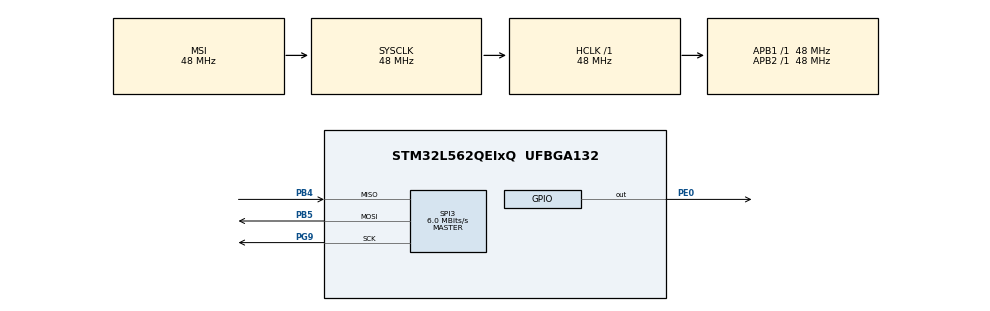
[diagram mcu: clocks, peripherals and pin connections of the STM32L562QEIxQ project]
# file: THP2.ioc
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FREERTOS.Tasks01=bmeSampleTask,16,128,BmeSampleTask,Default,NULL,Dynamic,NULL,NULL;lcdRenderTask,32,512,LcdRenderTask,Default,NULL,Dynamic,NULL,NULL;tapCheckTask,40,128,TapCheckTask,Default,NULL,Dynamic,NULL,NULL;sdWriteTask,24,1024,SdWriteTask,Default,NULL,Dynamic,NULL,NULL
FREERTOS.configENABLE_FPU=0
FREERTOS.configTOTAL_HEAP_SIZE=16384
FREERTOS.configUSE_NEWLIB_REENTRANT=1
Mcu.Family=STM32L5
Mcu.Name=STM32L562QEIxQ
Mcu.Package=UFBGA132
NVIC.PriorityGroup=NVIC_PRIORITYGROUP_3
NVIC.TIM6_IRQn=true\:7\:0\:false\:false\:true\:false\:false\:true
NVIC.TimeBase=TIM6_IRQn
NVIC.TimeBaseIP=TIM6
PB4\ (NJTRST).GPIO_Mode=GPIO_MODE_AF_PP
PB4\ (NJTRST).GPIO_PuPd=GPIO_NOPULL
PB4\ (NJTRST).GPIO_Speed=GPIO_SPEED_FREQ_LOW
PB4\ (NJTRST).Mode=Full_Duplex_Master
PB4\ (NJTRST).Signal=SPI3_MISO
PB5.GPIO_Mode=GPIO_MODE_AF_PP
PB5.GPIO_PuPd=GPIO_NOPULL
PB5.GPIO_Speed=GPIO_SPEED_FREQ_LOW
PB5.Mode=Full_Duplex_Master
PB5.Signal=SPI3_MOSI
PE0.PinState=GPIO_PIN_SET
PE0.Signal=GPIO_Output
PG9.GPIO_Mode=GPIO_MODE_AF_PP
PG9.GPIO_PuPd=GPIO_NOPULL
PG9.GPIO_Speed=GPIO_SPEED_FREQ_LOW
PG9.Mode=Full_Duplex_Master
PG9.Signal=SPI3_SCK
ProjectManager.HeapSize=0x200
ProjectManager.StackSize=0x400
ProjectManager.TargetToolchain=STM32CubeIDE
RCC.ADCFreq_Value=192000000
RCC.AHBFreq_Value=48000000
RCC.APB1Freq_Value=48000000
RCC.APB1TimFreq_Value=48000000
RCC.APB2Freq_Value=48000000
RCC.APB2TimFreq_Value=48000000
RCC.CortexFreq_Value=48000000
RCC.HCLKFreq_Value=48000000
RCC.HSE_VALUE=16000000
RCC.HSI48_VALUE=48000000
RCC.HSI_VALUE=16000000
RCC.LSE_VALUE=32768
RCC.MSIClockRange=RCC_MSIRANGE_11
RCC.MSI_VALUE=48000000
RCC.SYSCLKFreq_VALUE=48000000
RCC.USBFreq_Value=192000000
RCC.VCOOutputFreq_Value=384000000
SPI3.BaudRatePrescaler=SPI_BAUDRATEPRESCALER_8
SPI3.CalculateBaudRate=6.0 MBits/s
SPI3.DataSize=SPI_DATASIZE_8BIT
SPI3.Direction=SPI_DIRECTION_2LINES
SPI3.Mode=SPI_MODE_MASTER
SPI3.NSSPMode=SPI_NSS_PULSE_DISABLE
SPI3.VirtualType=VM_MASTER
VP_FREERTOS_VS_CMSIS_V2.Mode=CMSIS_V2
VP_ICACHE_VS_ICACHE.Mode=DirectMappedCache
VP_PWR_VS_DBSignals.Mode=DisableDeadBatterySignals
VP_PWR_VS_SECSignals.Mode=Security/Privilege
VP_SYS_VS_tim6.Mode=TIM6
board=custom

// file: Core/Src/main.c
/* USER CODE BEGIN Header */
/**
  ******************************************************************************
  * @file           : main.c
  * @brief          : Main program body
  ******************************************************************************
  * @attention
  *
  * <h2><center>&copy; Copyright (c) 2021 STMicroelectronics.
  * All rights reserved.</center></h2>
  *
  * This software component is licensed by ST under Ultimate Liberty license
  * SLA0044, the "License"; You may not use this file except in compliance with
  * the License. You may obtain a copy of the License at:
  *                             www.st.com/SLA0044
  *
  ******************************************************************************
  */
/* USER CODE END Header */
#include "main.h"
#include "cmsis_os.h"

SPI_HandleTypeDef hspi3;

/* Definitions for bmeSampleTask */
osThreadId_t bmeSampleTaskHandle;
const osThreadAttr_t bmeSampleTask_attributes = {
  .name = "bmeSampleTask",
  .priority = (osPriority_t) osPriorityBelowNormal,
  .stack_size = 128 * 4
};
/* Definitions for lcdRenderTask */
osThreadId_t lcdRenderTaskHandle;
const osThreadAttr_t lcdRenderTask_attributes = {
  .name = "lcdRenderTask",
  .priority = (osPriority_t) osPriorityAboveNormal,
  .stack_size = 512 * 4
};
/* Definitions for tapCheckTask */
osThreadId_t tapCheckTaskHandle;
const osThreadAttr_t tapCheckTask_attributes = {
  .name = "tapCheckTask",
  .priority = (osPriority_t) osPriorityHigh,
  .stack_size = 128 * 4
};
/* Definitions for sdWriteTask */
osThreadId_t sdWriteTaskHandle;
const osThreadAttr_t sdWriteTask_attributes = {
  .name = "sdWriteTask",
  .priority = (osPriority_t) osPriorityNormal,
  .stack_size = 1024 * 4
};
/* USER CODE BEGIN PV */
volatile uint32_t* DWT_CTRL = (uint32_t*)0xE0001000;

enum eBmeState { eStream, eRecord, eWrite };
enum eBmeState curr_state = eStream;

__IO FlagStatus TouchDetected     = RESET;
FlagStatus LcdInitialized = RESET;
FlagStatus TsInitialized  = RESET;

extern struct bme280_dev bme_device;
extern struct bme280_data curr_bme_data;

struct sd_write_item {
	struct bme280_data readings;
	uint32_t tick_offset;
};
struct sd_write_item sd_raw_data_buf[NUMBER_OF_SAMPLES_TO_REC];
int iSdRawDataBuf = 0;

/* USER CODE END PV */

void SystemClock_Config(void);
static void MX_ICACHE_Init(void);
static void MX_GPIO_Init(void);
static void MX_SPI3_Init(void);
void BmeSampleTask(void *argument);
void LcdRenderTask(void *argument);
void TapCheckTask(void *argument);
void SdWriteTask(void *argument);

/* USER CODE BEGIN PFP */
void LcdRenderReading(const struct bme280_data *reading);
UINT WriteReadingAndCommaToFile(FIL* SDFile, char* single_line_buf, int bufSize);
static void SystemHardwareInit(void);
extern void SEGGER_UART_init(U32 baud);
/* USER CODE END PFP */

int main(void)
{

  /* MCU Configuration--------------------------------------------------------*/

  /* Reset of all peripherals, Initializes the Flash interface and the Systick. */
  HAL_Init();

  /* USER CODE BEGIN Init */
  *(DWT_CTRL) |= (1 << 0);
  /* USER CODE END Init */

  /* Configure the system clock */
  SystemClock_Config();

  /* Initialize all configured peripherals */
  MX_ICACHE_Init();
  MX_GPIO_Init();
  MX_SPI3_Init();
  /* USER CODE BEGIN 2 */
  SystemHardwareInit();

  /* Initialize the micro SD Card */
  if (BSP_SD_Init(0) != BSP_ERROR_NONE)
  {
    Error_Handler();
  }
  if (BSP_SD_DetectITConfig(0) != BSP_ERROR_NONE)
  {
    Error_Handler();
  }
  if (MX_FATFS_Init() != APP_OK) {
    Error_Handler();
  }

  // Print start screen to LCD display
  UTIL_LCD_Clear(LCD_BACKGROUND_COLOR);
  UTIL_LCD_FillRect(0, 0, 240, 24, UTIL_LCD_COLOR_ST_BLUE_DARK);
  UTIL_LCD_SetTextColor(LCD_TEXT_COLOR);
  UTIL_LCD_SetBackColor(UTIL_LCD_COLOR_ST_BLUE_DARK);
  UTIL_LCD_SetFont(&Font24);
  UTIL_LCD_DisplayStringAt(0, 0, (uint8_t *)"THP Sensor", CENTER_MODE);
  UTIL_LCD_SetBackColor(LCD_BACKGROUND_COLOR);
  UTIL_LCD_SetFont(&Font12);
  UTIL_LCD_DisplayStringAt(0, PY_TEMPERATURE, (uint8_t *)"Temperature (C): ", LEFT_MODE);
  UTIL_LCD_DisplayStringAt(0, PY_HUMIDITY, (uint8_t *)"Humidity (%RH): ", LEFT_MODE);
  UTIL_LCD_DisplayStringAt(0, PY_PRESSURE, (uint8_t *)"Pressure (hPa): ", LEFT_MODE);
  UTIL_LCD_FillRect(0, 132, 240, 108, UTIL_LCD_COLOR_ST_BLUE_DARK);
  UTIL_LCD_FillRect(PX_RECORD_BUTTON, PY_RECORD_BUTTON, WIDTH_RECORD_BUTTON, HEIGHT_RECORD_BUTTON, RECORD_BUTTON_COLOR_UNPR);
  UTIL_LCD_SetBackColor(RECORD_BUTTON_COLOR_UNPR);
  UTIL_LCD_DisplayStringAt(0, PY_RECORD_BUTTON_TEXT, (uint8_t *)BUTTON_TEXT_STREAMING, CENTER_MODE);
  /* USER CODE END 2 */

  /* Init scheduler */
  osKernelInitialize();

  /* Create the thread(s) */
  /* creation of bmeSampleTask */
  bmeSampleTaskHandle = osThreadNew(BmeSampleTask, NULL, &bmeSampleTask_attributes);

  /* creation of lcdRenderTask */
  lcdRenderTaskHandle = osThreadNew(LcdRenderTask, NULL, &lcdRenderTask_attributes);

  /* creation of tapCheckTask */
  tapCheckTaskHandle = osThreadNew(TapCheckTask, NULL, &tapCheckTask_attributes);

  /* creation of sdWriteTask */
  sdWriteTaskHandle = osThreadNew(SdWriteTask, NULL, &sdWriteTask_attributes);

  /* USER CODE BEGIN RTOS_THREADS */
  /* add threads, ... */
  osThreadSuspend(sdWriteTaskHandle);
//  SEGGER_UART_init(SEGGER_UART_BAUD_RATE);
  SEGGER_SYSVIEW_Conf();
  SEGGER_SYSVIEW_Start();
  /* USER CODE END RTOS_THREADS */

  /* Start scheduler */
  osKernelStart();

  /* We should never get here as control is now taken by the scheduler */
  /* Infinite loop */
  while (1)
  {

  }
}

void SystemClock_Config(void)
{
  RCC_OscInitTypeDef RCC_OscInitStruct = {0};
  RCC_ClkInitTypeDef RCC_ClkInitStruct = {0};

  /** Configure the main internal regulator output voltage
  */
  if (HAL_PWREx_ControlVoltageScaling(PWR_REGULATOR_VOLTAGE_SCALE1) != HAL_OK)
  {
    Error_Handler();
  }
  /** Initializes the RCC Oscillators according to the specified parameters
  * in the RCC_OscInitTypeDef structure.
  */
  RCC_OscInitStruct.OscillatorType = RCC_OSCILLATORTYPE_MSI;
  RCC_OscInitStruct.MSIState = RCC_MSI_ON;
  RCC_OscInitStruct.MSICalibrationValue = RCC_MSICALIBRATION_DEFAULT;
  RCC_OscInitStruct.MSIClockRange = RCC_MSIRANGE_11;
  RCC_OscInitStruct.PLL.PLLState = RCC_PLL_NONE;
  if (HAL_RCC_OscConfig(&RCC_OscInitStruct) != HAL_OK)
  {
    Error_Handler();
  }
  /** Initializes the CPU, AHB and APB buses clocks
  */
  RCC_ClkInitStruct.ClockType = RCC_CLOCKTYPE_HCLK|RCC_CLOCKTYPE_SYSCLK
                              |RCC_CLOCKTYPE_PCLK1|RCC_CLOCKTYPE_PCLK2;
  RCC_ClkInitStruct.SYSCLKSource = RCC_SYSCLKSOURCE_MSI;
  RCC_ClkInitStruct.AHBCLKDivider = RCC_SYSCLK_DIV1;
  RCC_ClkInitStruct.APB1CLKDivider = RCC_HCLK_DIV1;
  RCC_ClkInitStruct.APB2CLKDivider = RCC_HCLK_DIV1;

  if (HAL_RCC_ClockConfig(&RCC_ClkInitStruct, FLASH_LATENCY_2) != HAL_OK)
  {
    Error_Handler();
  }
}

static void MX_ICACHE_Init(void)
{

  /** Enable instruction cache in 1-way (direct mapped cache)
  */
  if (HAL_ICACHE_ConfigAssociativityMode(ICACHE_1WAY) != HAL_OK)
  {
    Error_Handler();
  }
  if (HAL_ICACHE_Enable() != HAL_OK)
  {
    Error_Handler();
  }

}

static void MX_SPI3_Init(void)
{

  /* SPI3 parameter configuration*/
  hspi3.Instance = SPI3;
  hspi3.Init.Mode = SPI_MODE_MASTER;
  hspi3.Init.Direction = SPI_DIRECTION_2LINES;
  hspi3.Init.DataSize = SPI_DATASIZE_8BIT;
  hspi3.Init.CLKPolarity = SPI_POLARITY_LOW;
  hspi3.Init.CLKPhase = SPI_PHASE_1EDGE;
  hspi3.Init.NSS = SPI_NSS_SOFT;
  hspi3.Init.BaudRatePrescaler = SPI_BAUDRATEPRESCALER_8;
  hspi3.Init.FirstBit = SPI_FIRSTBIT_MSB;
  hspi3.Init.TIMode = SPI_TIMODE_DISABLE;
  hspi3.Init.CRCCalculation = SPI_CRCCALCULATION_DISABLE;
  hspi3.Init.CRCPolynomial = 7;
  hspi3.Init.CRCLength = SPI_CRC_LENGTH_DATASIZE;
  hspi3.Init.NSSPMode = SPI_NSS_PULSE_DISABLE;
  if (HAL_SPI_Init(&hspi3) != HAL_OK)
  {
    Error_Handler();
  }

}

static void MX_GPIO_Init(void)
{
  GPIO_InitTypeDef GPIO_InitStruct = {0};

  /* GPIO Ports Clock Enable */
  __HAL_RCC_GPIOB_CLK_ENABLE();
  __HAL_RCC_GPIOG_CLK_ENABLE();
  HAL_PWREx_EnableVddIO2();
  __HAL_RCC_GPIOE_CLK_ENABLE();

  /*Configure GPIO pin Output Level */
  HAL_GPIO_WritePin(GPIOE, GPIO_PIN_0, GPIO_PIN_SET);

  /*Configure GPIO pin : PE0 */
  GPIO_InitStruct.Pin = GPIO_PIN_0;
  GPIO_InitStruct.Mode = GPIO_MODE_OUTPUT_PP;
  GPIO_InitStruct.Pull = GPIO_NOPULL;
  GPIO_InitStruct.Speed = GPIO_SPEED_FREQ_LOW;
  HAL_GPIO_Init(GPIOE, &GPIO_InitStruct);

}

/* USER CODE BEGIN 4 */
static void SystemHardwareInit(void)
{
  /* Initialize the LCD */
  if (LcdInitialized != SET)
  {
    LCD_UTILS_Drv_t lcdDrv;

    /* Initialize the LCD */
    if (BSP_LCD_Init(0, LCD_ORIENTATION_PORTRAIT) != BSP_ERROR_NONE)
    {
      Error_Handler();
    }

    /* Set UTIL_LCD functions */
    lcdDrv.DrawBitmap  = BSP_LCD_DrawBitmap;
    lcdDrv.FillRGBRect = BSP_LCD_FillRGBRect;
    lcdDrv.DrawHLine   = BSP_LCD_DrawHLine;
    lcdDrv.DrawVLine   = BSP_LCD_DrawVLine;
    lcdDrv.FillRect    = BSP_LCD_FillRect;
    lcdDrv.GetPixel    = BSP_LCD_ReadPixel;
    lcdDrv.SetPixel    = BSP_LCD_WritePixel;
    lcdDrv.GetXSize    = BSP_LCD_GetXSize;
    lcdDrv.GetYSize    = BSP_LCD_GetYSize;
    lcdDrv.SetLayer    = BSP_LCD_SetActiveLayer;
    lcdDrv.GetFormat   = BSP_LCD_GetFormat;
    UTIL_LCD_SetFuncDriver(&lcdDrv);

    /* Clear the LCD */
    UTIL_LCD_Clear(LCD_BACKGROUND_COLOR);

    /* Set the display on */
    if (BSP_LCD_DisplayOn(0) != BSP_ERROR_NONE)
    {
      Error_Handler();
    }

    LcdInitialized = SET;
  }

  /* Initialize the TouchScreen */
  if (TsInitialized != SET)
  {
    TS_Init_t TsInit;

    /* Initialize the TouchScreen */
    TsInit.Width       = 240;
    TsInit.Height      = 240;
    TsInit.Orientation = TS_ORIENTATION_PORTRAIT;
    TsInit.Accuracy    = 10;
    if (BSP_TS_Init(0, &TsInit) != BSP_ERROR_NONE)
    {
      Error_Handler();
    }

    /* Configure TS interrupt */
    if (BSP_TS_EnableIT(0) != BSP_ERROR_NONE)
    {
      Error_Handler();
    }

    TsInitialized = SET;
  }
}

void LcdRenderReading(const struct bme280_data *reading) {
	static char sensor_reading_buf[14];
	static const uint clear_height = 12;
	static const uint clear_width = 98;

	UTIL_LCD_SetBackColor(LCD_BACKGROUND_COLOR);

	if (WriteTemperature(reading->temperature, sensor_reading_buf, sizeof(sensor_reading_buf)) > 0) {
		UTIL_LCD_FillRect(240 - clear_width, PY_TEMPERATURE, clear_width, clear_height, LCD_BACKGROUND_COLOR);
		UTIL_LCD_DisplayStringAt(0, PY_TEMPERATURE, (uint8_t *)sensor_reading_buf, RIGHT_MODE);
		memset(sensor_reading_buf, '\0', sizeof(sensor_reading_buf));
	}

	if (WriteHumidity(reading->humidity, sensor_reading_buf, sizeof(sensor_reading_buf))) {
		UTIL_LCD_FillRect(240 - clear_width, PY_HUMIDITY, clear_width, clear_height, LCD_BACKGROUND_COLOR);
		UTIL_LCD_DisplayStringAt(0, PY_HUMIDITY, (uint8_t *)sensor_reading_buf, RIGHT_MODE);
		memset(sensor_reading_buf, '\0', sizeof(sensor_reading_buf));
	}

	if (WritePressure(reading->pressure, sensor_reading_buf, sizeof(sensor_reading_buf)) > 0) {
		UTIL_LCD_FillRect(240 - clear_width, PY_PRESSURE, clear_width, clear_height, LCD_BACKGROUND_COLOR);
		UTIL_LCD_DisplayStringAt(0, PY_PRESSURE, (uint8_t *)sensor_reading_buf, RIGHT_MODE);
		memset(sensor_reading_buf, '\0', sizeof(sensor_reading_buf));
	}
}

UINT WriteReadingAndCommaToFile(FIL* SDFile, char* single_line_buf, int bufSize) {
	const char separator = ',';
	FRESULT res;
	UINT totbyteswritten = 0, byteswritten = 0;
	res = f_write(SDFile, single_line_buf, bufSize, (void*)&byteswritten);
	totbyteswritten += byteswritten;
	if (res != FR_OK || byteswritten != bufSize) return totbyteswritten;
	res = f_write(SDFile, &separator, sizeof(separator), (void*)&byteswritten);
	return (totbyteswritten += byteswritten);
}

void BSP_TS_Callback(uint32_t Instance) {
	if (Instance == 0) {
		// Signal tapCheck that new tap was detected
		TouchDetected = SET;
  }
}
/* USER CODE END 4 */

void BmeSampleTask(void *argument)
{
  /* USER CODE BEGIN 5 */
	if (bme280_app_init() == BME280_OK) {
		uint32_t bme280_sample_delay = bme280_cal_meas_delay(&(bme_device.settings));
		TickType_t xLastWakeTime = osKernelGetTickCount();
		/* Infinite loop */
		for (;;) {
			if (bme280_set_sensor_mode(BME280_FORCED_MODE, &bme_device) == BME280_OK) {
				osDelay(pdMS_TO_TICKS(bme280_sample_delay));
				if (bme280_get_sensor_data(BME280_ALL, &curr_bme_data, &bme_device) == BME280_OK) {
					// Signal lcd render and sd write that new data is ready
					osThreadFlagsSet(lcdRenderTaskHandle, BME_FLAG_NEW_DATA);
					osThreadFlagsSet(sdWriteTaskHandle, BME_FLAG_NEW_DATA);
				}
			}
			// Wait for the next cycle
			xLastWakeTime += pdMS_TO_TICKS(SAMPLE_PERIOD_MS);
			osDelayUntil(xLastWakeTime);
		}
	}
	osThreadExit();
  /* USER CODE END 5 */
}

void LcdRenderTask(void *argument)
{
  /* USER CODE BEGIN LcdRenderTask */
	uint32_t lcd_render_flags;
	/* Infinite loop */
	for (;;) {
		// Check if there is something new to render (new data, user event)
		lcd_render_flags = osThreadFlagsWait(
				BME_FLAG_NEW_DATA | BME_FLAG_START_RECORDING | BME_FLAG_RECORDING_DONE | BME_FLAG_SD_WR_DONE,
				osFlagsWaitAny,
				osWaitForever);

		if (lcd_render_flags & BME_FLAG_NEW_DATA) {
			// Display curr readings
			LcdRenderReading(&curr_bme_data);
		}
		if (lcd_render_flags & BME_FLAG_START_RECORDING) {
			UTIL_LCD_FillRect(PX_RECORD_BUTTON, PY_RECORD_BUTTON, WIDTH_RECORD_BUTTON, HEIGHT_RECORD_BUTTON, RECORD_BUTTON_COLOR_PRSS);
			UTIL_LCD_SetBackColor(RECORD_BUTTON_COLOR_PRSS);
			UTIL_LCD_DisplayStringAt(0, PY_RECORD_BUTTON_TEXT, (uint8_t*)BUTTON_TEXT_RECORDING, CENTER_MODE);
			osThreadResume(sdWriteTaskHandle);
		}
		if (lcd_render_flags & BME_FLAG_RECORDING_DONE) {
			UTIL_LCD_FillRect(PX_RECORD_BUTTON, PY_RECORD_BUTTON, WIDTH_RECORD_BUTTON, HEIGHT_RECORD_BUTTON, RECORD_BUTTON_COLOR_PRSS);
			UTIL_LCD_SetBackColor(RECORD_BUTTON_COLOR_PRSS);
			UTIL_LCD_DisplayStringAt(0, PY_RECORD_BUTTON_TEXT, (uint8_t*)BUTTON_TEXT_WRITING, CENTER_MODE);
		}
		if (lcd_render_flags & BME_FLAG_SD_WR_DONE) {
		  UTIL_LCD_FillRect(PX_RECORD_BUTTON, PY_RECORD_BUTTON, WIDTH_RECORD_BUTTON, HEIGHT_RECORD_BUTTON, RECORD_BUTTON_COLOR_UNPR);
		  UTIL_LCD_SetBackColor(RECORD_BUTTON_COLOR_UNPR);
		  UTIL_LCD_DisplayStringAt(0, PY_RECORD_BUTTON_TEXT, (uint8_t *)BUTTON_TEXT_STREAMING, CENTER_MODE);
		  osThreadResume(tapCheckTaskHandle);
		}
	}
	osThreadExit();
  /* USER CODE END LcdRenderTask */
}

void TapCheckTask(void *argument)
{
  /* USER CODE BEGIN TapCheckTask */
  uint16_t x, y;
  uint8_t shouldSuspend = 0;
	TS_MultiTouch_State_t TsMultipleState = {0};
  /* Infinite loop */
  for(;;)
  {
  	if (shouldSuspend) {
  		shouldSuspend = FALSE;
  		osThreadSuspend(tapCheckTaskHandle);
  	}
		if (TouchDetected == SET) {
			taskENTER_CRITICAL();
			TouchDetected = RESET;
			if (BSP_TS_Get_MultiTouchState(0, &TsMultipleState) != BSP_ERROR_NONE) Error_Handler();
			// Check if tap on button and state is stream
			if (TsMultipleState.TouchDetected >= 1) {
				x = TsMultipleState.TouchX[0];
				y = TsMultipleState.TouchY[0];
				if (x > PX_RECORD_BUTTON && x < PX_RECORD_BUTTON + WIDTH_RECORD_BUTTON &&
						y > PY_RECORD_BUTTON && y < PY_RECORD_BUTTON + HEIGHT_RECORD_BUTTON) {
						// Set render and sd write thread flags
						osThreadFlagsSet(lcdRenderTaskHandle, BME_FLAG_START_RECORDING);
						osThreadFlagsSet(sdWriteTaskHandle, BME_FLAG_START_RECORDING);
						shouldSuspend = TRUE;
				}
			}
			taskEXIT_CRITICAL();
		}
		osDelay(pdMS_TO_TICKS(TAP_POLL_PERIOD_MS));
	}
	osThreadExit();
  /* USER CODE END TapCheckTask */
}

void SdWriteTask(void *argument) {
	/* USER CODE BEGIN SdWriteTask */
	struct sd_write_item temp_write_item;
	uint32_t rec_tick = 0, last_tick = 0, curr_tick = 0;
	FRESULT res;
	FILINFO fInfo;
	uint32_t bytestowrite, byteswritten;
	const char lr = '\n';
	char single_line_buf[14];
	/* Infinite loop */
	for (;;) {
		if (iSdRawDataBuf < NUMBER_OF_SAMPLES_TO_REC) {
			// Wait for new data then write to sd buf
			osThreadFlagsWait(BME_FLAG_NEW_DATA, osFlagsWaitAny, osWaitForever);
			if (iSdRawDataBuf == 0) {
				rec_tick = osKernelGetTickCount();
				last_tick = rec_tick;
			} else {
				curr_tick = osKernelGetTickCount();
				rec_tick = (curr_tick > last_tick) ?
								(rec_tick + curr_tick - last_tick) :
								(UINT_MAX - last_tick + curr_tick);
				last_tick = curr_tick;
			}
			temp_write_item.tick_offset = rec_tick;
			temp_write_item.readings = curr_bme_data;
			sd_raw_data_buf[iSdRawDataBuf++] = temp_write_item;
		} else {
			osThreadFlagsSet(lcdRenderTaskHandle, BME_FLAG_RECORDING_DONE);
			// Register the file system object to the FatFs module
			if (f_mount(&SDFatFS, (TCHAR const*) SDPath, 0) == FR_OK) {
				// If file exists already, delete it
				if (f_stat("THP_REC.TXT", &fInfo) == FR_OK) f_unlink("THP_REC.TXT");

				// Create and Open a new text file object with write access
				if (f_open(&SDFile, "THP_REC.TXT", FA_OPEN_APPEND | FA_WRITE) == FR_OK) {
					for (int i = 0; i < iSdRawDataBuf; i++) {
						// Write tick
						bytestowrite = sprintf(single_line_buf, "%u,", (uint) sd_raw_data_buf[i].tick_offset);
						res = f_write(&SDFile, single_line_buf, bytestowrite, (void*) &byteswritten);
						if (byteswritten != bytestowrite) break;

						// Write temperature
						bytestowrite = WriteTemperature(sd_raw_data_buf[i].readings.temperature, single_line_buf, sizeof(single_line_buf));
						if (bytestowrite < 0) break;
						if (WriteReadingAndCommaToFile(&SDFile, single_line_buf, bytestowrite) != bytestowrite + 1) break;
						memset(single_line_buf, '\0', sizeof(single_line_buf));

						// Write humidity
						bytestowrite = WriteHumidity(sd_raw_data_buf[i].readings.humidity, single_line_buf, sizeof(single_line_buf));
						if (bytestowrite < 0) break;
						if (WriteReadingAndCommaToFile(&SDFile, single_line_buf, bytestowrite) != bytestowrite + 1) break;
						memset(single_line_buf, '\0', sizeof(single_line_buf));

						// Write pressure
						bytestowrite = WritePressure(sd_raw_data_buf[i].readings.pressure, single_line_buf, sizeof(single_line_buf));
						if (bytestowrite < 0) break;
						if (WriteReadingAndCommaToFile(&SDFile, single_line_buf, bytestowrite) != bytestowrite + 1) break;
						memset(single_line_buf, '\0', sizeof(single_line_buf));

						// Write new line
						res = f_write(&SDFile, &lr, sizeof(lr), (void*) &byteswritten);
						if (res != FR_OK || byteswritten != sizeof(lr)) break;
					}
					// Write new line
					res = f_write(&SDFile, &lr, sizeof(lr), (void*) &byteswritten);
					// Close the open text file
					f_close(&SDFile);
				}
				f_mount(0, (TCHAR const*) SDPath, 0);
			}
			iSdRawDataBuf = 0;
			memset(sd_raw_data_buf, '\0', sizeof(sd_raw_data_buf));

			// Raise wr done flag then suspend
			osThreadFlagsSet(lcdRenderTaskHandle, BME_FLAG_SD_WR_DONE);
			osThreadSuspend(sdWriteTaskHandle);
		}
	}
	osThreadExit();
	/* USER CODE END SdWriteTask */
}

void HAL_TIM_PeriodElapsedCallback(TIM_HandleTypeDef *htim)
{
  if (htim->Instance == TIM6) {
    HAL_IncTick();
  }
}

void Error_Handler(void)
{
  __disable_irq();
  while (1)
  {
  }
}

/************************ (C) COPYRIGHT STMicroelectronics *****END OF FILE****/
